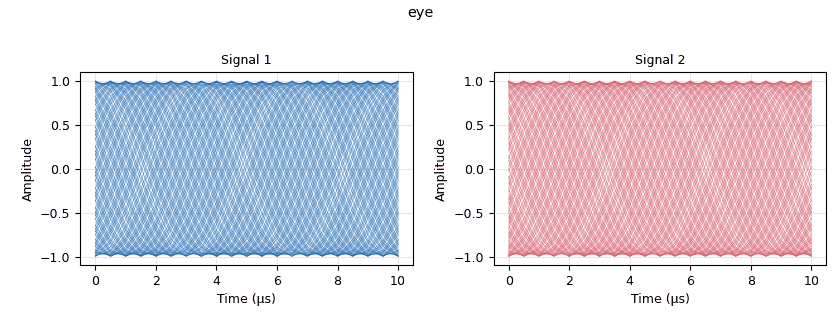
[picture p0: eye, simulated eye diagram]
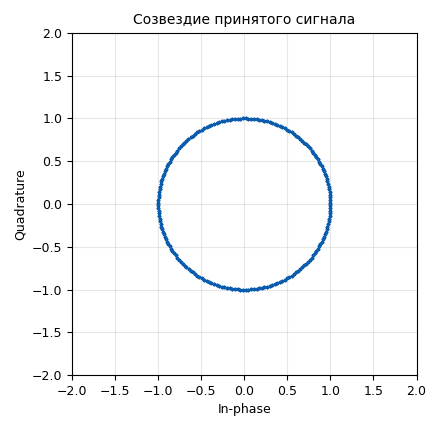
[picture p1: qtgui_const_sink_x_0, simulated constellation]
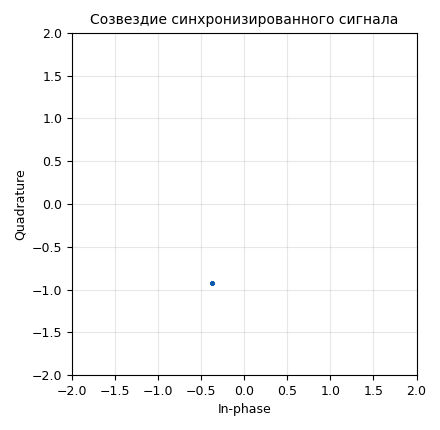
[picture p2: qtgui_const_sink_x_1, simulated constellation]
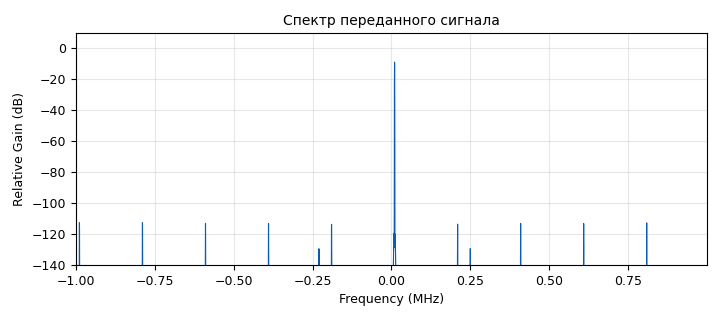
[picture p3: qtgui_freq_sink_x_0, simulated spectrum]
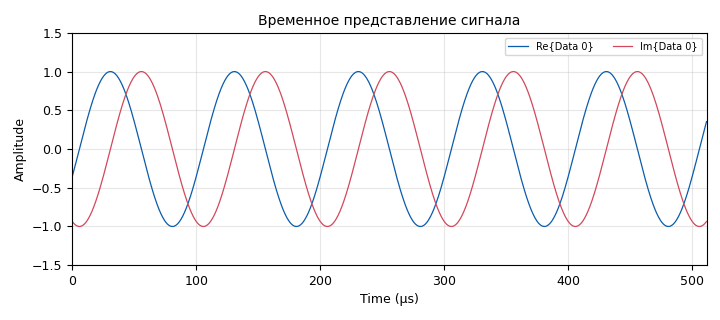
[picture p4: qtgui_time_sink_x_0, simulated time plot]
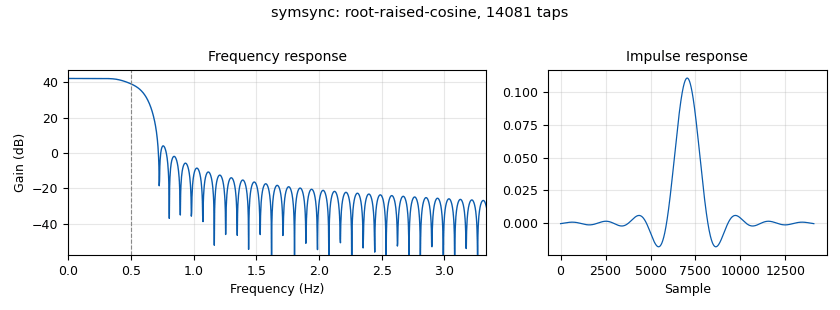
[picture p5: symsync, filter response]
options:
  parameters:
    author: Lab5
    generate_options: qt_gui
    id: lab5_2_7_10_8psk_two_sixes
    output_language: python
    title: 'ЛР5 п.2.7.10  8PSK: передача «6, 6»'
  states: {}

blocks:
- name: N
  id: variable
  parameters:
    value: '1'
  states: {}
- name: Rs
  id: variable
  parameters:
    value: samp_rate/sps
  states: {}
- name: alpha
  id: variable
  parameters:
    value: '0.4'
  states: {}
- name: noise
  id: variable_qtgui_range
  parameters:
    label: '"Noise Voltage, В"'
    start: '0'
    step: '0.001'
    stop: '1'
    value: '0'
  states: {}
- name: psk
  id: variable_constellation
  parameters:
    const_points: '[0.924+0.383j, 0.383+0.924j, -0.383+0.924j, -0.924+0.383j, -0.924-0.383j, -0.383-0.924j, 0.383-0.924j, 0.924-0.383j]'
    dims: '1'
    normalization: digital.constellation.AMPLITUDE_NORMALIZATION
    precision: '8'
    rot_sym: '8'
    sym_map: '[0, 1, 2, 3, 4, 5, 6, 7]'
    type: calcdist
  states: {}
- name: samp_rate
  id: variable
  parameters:
    value: 2e6
  states: {}
- name: sps
  id: variable
  parameters:
    value: '10'
  states: {}
- name: blocks_throttle2_0
  id: blocks_throttle2
  parameters:
    samples_per_second: samp_rate
    type: complex
  states: {}
- name: blocks_uchar_to_float_0
  id: blocks_uchar_to_float
  parameters: {}
  states: {}
- name: blocks_uchar_to_float_1
  id: blocks_uchar_to_float
  parameters: {}
  states: {}
- name: channel
  id: channels_channel_model
  parameters:
    epsilon: '1.0'
    freq_offset: N*10e3/samp_rate
    noise_voltage: noise
    seed: '0'
    taps: '1.0'
  states: {}
- name: costas
  id: digital_costas_loop_cc
  parameters:
    order: '8'
    w: '0.251'
  states: {}
- name: decoder
  id: digital_constellation_decoder_cb
  parameters:
    constellation: psk
  states: {}
- name: diff_dec
  id: digital_diff_decoder_bb
  parameters:
    coding: digital.DIFF_DIFFERENTIAL
    modulus: '8'
  states: {}
- name: eye
  id: qtgui_eye_sink_x
  parameters:
    autoscale: 'True'
    grid: 'True'
    samp_per_symbol: sps
    size: '2048'
    srate: samp_rate
    type: complex
    ymax: '2'
    ymin: '-2'
  states: {}
- name: fll
  id: digital_fll_band_edge_cc
  parameters:
    filter_size: '44'
    rolloff: alpha
    samps_per_sym: sps
    type: cc
    w: '0.00628'
  states: {}
- name: mod
  id: digital_constellation_modulator
  parameters:
    constellation: psk
    differential: 'False'
    excess_bw: alpha
    samples_per_symbol: sps
  states: {}
- name: p2u
  id: blocks_packed_to_unpacked_xx
  parameters:
    bits_per_chunk: '3'
    endianness: gr.GR_MSB_FIRST
    type: byte
  states: {}
- name: qtgui_const_sink_x_0
  id: qtgui_const_sink_x
  parameters:
    grid: 'True'
    name: '"Созвездие принятого сигнала"'
    size: '1024'
    type: complex
  states: {}
- name: qtgui_const_sink_x_1
  id: qtgui_const_sink_x
  parameters:
    grid: 'True'
    name: '"Созвездие синхронизированного сигнала"'
    size: '1024'
    type: complex
  states: {}
- name: qtgui_freq_sink_x_0
  id: qtgui_freq_sink_x
  parameters:
    average: '0.1'
    bw: samp_rate
    fc: '0'
    fftsize: '8192'
    grid: 'True'
    name: '"Спектр переданного сигнала"'
    type: complex
  states: {}
- name: qtgui_time_sink_x_0
  id: qtgui_time_sink_x
  parameters:
    grid: 'True'
    name: '"Временное представление сигнала"'
    size: '1024'
    srate: samp_rate
    type: complex
    ymax: '1.5'
    ymin: '-1.5'
  states: {}
- name: qtgui_time_sink_x_1
  id: qtgui_time_sink_x
  parameters:
    grid: 'True'
    name: '"Принятые символы"'
    size: '100'
    srate: Rs
    type: float
    ymax: '8'
  states: {}
- name: qtgui_time_sink_x_2
  id: qtgui_time_sink_x
  parameters:
    grid: 'True'
    name: '"Переданные символы"'
    size: '100'
    srate: Rs
    type: float
    ymax: '8'
  states: {}
- name: src
  id: blocks_vector_source_x
  parameters:
    repeat: 'True'
    type: byte
    vector: (0b11011011, 0b01101101, 0b10110110)
  states: {}
- name: symsync
  id: digital_symbol_sync_xx
  parameters:
    constellation: psk
    damping: '1'
    loop_bw: '0.045'
    max_dev: '1.5'
    nfilters: '128'
    osps: '1'
    pfb_mf_taps: firdes.root_raised_cosine(128, 128*sps, 1.0, alpha, 11*sps*128)
    resamp_type: digital.IR_PFB_MF
    sps: sps
    ted_gain: '1.0'
    ted_type: digital.TED_GARDNER
    type: cc
  states: {}
- name: vsink
  id: virtual_sink
  parameters:
    stream_id: psk
  states: {}
- name: vsrc
  id: virtual_source
  parameters:
    stream_id: psk
  states: {}

connections:
- [blocks_throttle2_0, '0', channel, '0']
- [blocks_uchar_to_float_0, '0', qtgui_time_sink_x_1, '0']
- [blocks_uchar_to_float_1, '0', qtgui_time_sink_x_2, '0']
- [channel, '0', qtgui_freq_sink_x_0, '0']
- [channel, '0', qtgui_time_sink_x_0, '0']
- [channel, '0', vsink, '0']
- [costas, '0', decoder, '0']
- [costas, '0', qtgui_const_sink_x_1, '0']
- [decoder, '0', diff_dec, '0']
- [diff_dec, '0', blocks_uchar_to_float_0, '0']
- [fll, '0', symsync, '0']
- [mod, '0', blocks_throttle2_0, '0']
- [p2u, '0', blocks_uchar_to_float_1, '0']
- [src, '0', mod, '0']
- [src, '0', p2u, '0']
- [symsync, '0', costas, '0']
- [symsync, '0', eye, '0']
- [vsrc, '0', fll, '0']
- [vsrc, '0', qtgui_const_sink_x_0, '0']

metadata:
  file_format: 1
  grc_version: 3.10.12.0
